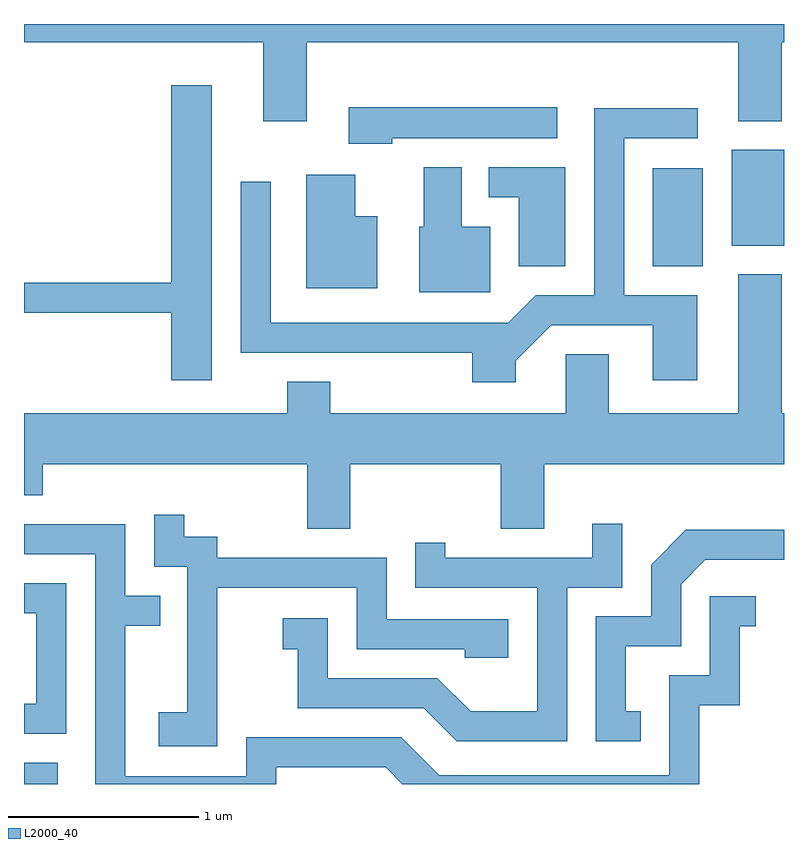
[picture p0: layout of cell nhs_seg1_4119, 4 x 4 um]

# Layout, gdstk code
import gdstk
lib = gdstk.Library(unit=1e-6, precision=1e-09)
def R(c, l, rs):  # rectangles x0, y0, x1, y1
    for r in rs: c.add(gdstk.rectangle(r[:2], r[2:], *l))
def P(c, l, *ps):  # polygons
    for p in ps: c.add(gdstk.Polygon(p, *l))
L2000_40 = (2000, 40)

nhs_seg1_4119 = lib.new_cell('nhs_seg1_4119')
R(nhs_seg1_4119, L2000_40, [(309.611,855.712,309.789,855.824), (312.921,858.436,313.184,858.954), (313.336,858.546,313.611,859.049)])
P(nhs_seg1_4119, L2000_40, [(311.099,859.616),(313.371,859.616),(313.371,859.201),(313.599,859.201),(313.599,859.616),(313.611,859.616),(313.611,859.712),(309.611,859.712),(309.611,859.616),(310.871,859.616),(310.871,859.201),(311.099,859.201)],
  [(310.599,859.389),(310.386,859.389),(310.386,858.349),(309.611,858.349),(309.611,858.191),(310.386,858.191),(310.386,857.836),(310.599,857.836)],
  [(311.549,859.111),(312.418,859.111),(312.418,859.274),(311.321,859.274),(311.321,859.081),(311.549,859.081)],
  [(312.199,857.939),(312.387,858.126),(312.921,858.126),(312.921,857.836),(313.154,857.836),(313.154,858.284),(312.769,858.284),(312.769,859.111),(313.158,859.111),(313.158,859.269),(312.611,859.269),(312.611,858.284),(312.304,858.284),(312.159,858.139),(310.909,858.139),(310.909,858.883),(310.751,858.883),(310.751,857.981),(311.971,857.981),(311.971,857.826),(312.199,857.826)],
  [(312.064,858.644),(311.914,858.644),(311.914,858.959),(311.716,858.959),(311.716,858.644),(311.691,858.644),(311.691,858.301),(312.064,858.301)],
  [(312.459,858.959),(312.058,858.959),(312.058,858.801),(312.216,858.801),(312.216,858.436),(312.459,858.436)],
  [(311.469,858.699),(311.354,858.699),(311.354,858.919),(311.096,858.919),(311.096,858.321),(311.469,858.321)],
  [(311.329,857.396),(312.121,857.396),(312.121,857.056),(312.349,857.056),(312.349,857.396),(313.611,857.396),(313.611,857.664),(313.599,857.664),(313.599,858.394),(313.371,858.394),(313.371,857.664),(312.689,857.664),(312.689,857.974),(312.461,857.974),(312.461,857.664),(311.224,857.664),(311.224,857.829),(310.996,857.829),(310.996,857.664),(309.611,857.664),(309.611,857.231),(309.709,857.231),(309.709,857.396),(311.101,857.396),(311.101,857.056),(311.329,857.056)],
  [(310.629,856.746),(311.361,856.746),(311.361,856.421),(311.931,856.421),(311.931,856.376),(312.159,856.376),(312.159,856.579),(311.519,856.579),(311.519,856.904),(310.629,856.904),(310.629,857.014),(310.454,857.014),(310.454,857.128),(310.296,857.128),(310.296,856.856),(310.471,856.856),(310.471,856.089),(310.321,856.089),(310.321,855.911),(310.629,855.911)],
  [(312.469,856.746),(312.759,856.746),(312.759,857.083),(312.601,857.083),(312.601,856.904),(311.829,856.904),(311.829,856.983),(311.671,856.983),(311.671,856.746),(312.311,856.746),(312.311,856.094),(311.962,856.094),(311.787,856.269),(311.209,856.269),(311.209,856.584),(310.973,856.584),(310.973,856.421),(311.051,856.421),(311.051,856.111),(311.714,856.111),(311.889,855.936),(312.469,855.936)],
  [(310.939,855.801),(311.514,855.801),(311.603,855.712),(313.164,855.712),(313.164,856.126),(313.379,856.126),(313.379,856.541),(313.463,856.541),(313.463,856.699),(313.221,856.699),(313.221,856.284),(313.006,856.284),(313.006,855.759),(311.797,855.759),(311.597,855.959),(310.781,855.959),(310.781,855.754),(310.144,855.754),(310.144,856.546),(310.328,856.546),(310.328,856.704),(310.144,856.704),(310.144,857.079),(309.611,857.079),(309.611,856.921),(309.986,856.921),(309.986,855.712),(310.939,855.712)],
  [(312.858,856.094),(312.779,856.094),(312.779,856.436),(313.069,856.436),(313.069,856.764),(313.197,856.891),(313.611,856.891),(313.611,857.049),(313.094,857.049),(312.911,856.867),(312.911,856.594),(312.621,856.594),(312.621,855.936),(312.858,855.936)],
  [(309.834,856.769),(309.611,856.769),(309.611,856.611),(309.676,856.611),(309.676,856.134),(309.611,856.134),(309.611,855.976),(309.834,855.976)])

lib.write_gds('nhs_seg1_4119.gds')
